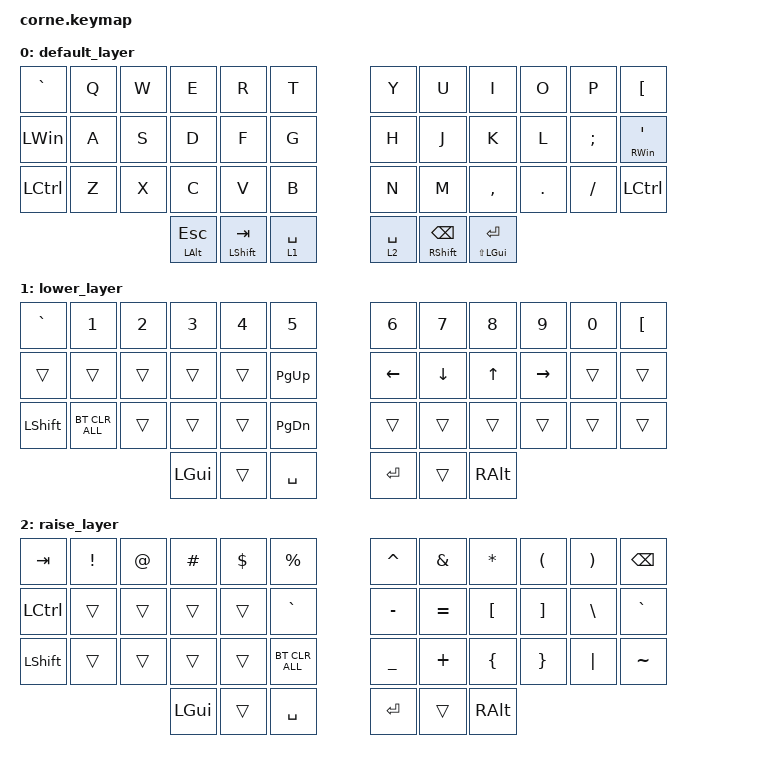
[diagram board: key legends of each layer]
/*
 * Copyright (c) 2020 The ZMK Contributors
 *
 * SPDX-License-Identifier: MIT
 */

#include <behaviors.dtsi>
#include <dt-bindings/zmk/bt.h>
#include <dt-bindings/zmk/keys.h>

/ {
    combos {
        compatible = "zmk,combos";

        combo_esc {
            timeout-ms = <50>;
            key-positions = <0 1>;
            bindings = <&kp ESC>;
        };
    };

    behaviors {
        ss_hs_modmorph: ss_hs_modmorph {
            compatible = "zmk,behavior-mod-morph";
            label = "SS_HS_MODMORPH";
            bindings = <&kp M>, <&kp RIGHT_BRACKET>;

            #binding-cells = <0>;
            mods = <(MOD_LSFT|MOD_RSFT)>;
        };

        kh_hs_tapdance: kh_hs_tapdance {
            compatible = "zmk,behavior-tap-dance";
            label = "KH_HS_TAPDANCE";
            #binding-cells = <0>;
            tapping-term-ms = <200>;
            bindings = <&kp LEFT_BRACKET>, <&kp RIGHT_BRACKET>;
        };

        hrm: hrm {
            compatible = "zmk,behavior-hold-tap";
            #binding-cells = <2>;
            flavor = "tap-preferred";
            tapping-term-ms = <800>;
            quick-tap-ms = <200>;
            require-prior-idle-ms = <125>;
            bindings = <&kp>, <&kp>;
        };
    };

    keymap {
        compatible = "zmk,keymap";

        default_layer {
            // -----------------------------------------------------------------------------------------
            // |  TAB |  Q  |  W  |  E  |  R  |  T  |   |  Y  |  U   |  I  |  O  |  P  | BKSP |
            // | CTRL |  A  |  S  |  D  |  F  |  G  |   |  H  |  J   |  K  |  L  |  ;  |  '   |
            // | SHFT |  Z  |  X  |  C  |  V  |  B  |   |  N  |  M   |  ,  |  .  |  /  | ESC  |
            //                    | GUI | LWR | SPC |   | ENT | RSE  | ALT |

            bindings = <
&kp GRAVE     &kp Q  &kp W  &kp E                &kp R               &kp T          &kp Y        &kp U                      &kp I                   &kp O    &kp P          &kp LEFT_BRACKET
&kp LEFT_WIN  &kp A  &kp S  &kp D                &kp F               &kp G          &kp H        &kp J                      &kp K                   &kp L    &kp SEMICOLON  &mt RIGHT_WIN SQT
&kp LCTRL     &kp Z  &kp X  &kp C                &kp V               &kp B          &kp N        &kp M                      &kp COMMA               &kp DOT  &kp FSLH       &kp LCTRL
                            &mt LEFT_ALT ESCAPE  &mt LEFT_SHIFT TAB  &lt 1 SPACE    &lt 2 SPACE  &mt RIGHT_SHIFT BACKSPACE  &mt LS(LEFT_GUI) ENTER
            >;
        };

        lower_layer {
            // -----------------------------------------------------------------------------------------
            // |  TAB |  1  |  2  |  3  |  4  |  5  |   |  6  |  7  |  8  |  9  |  0  | BKSP |
            // | BTCLR| BT1 | BT2 | BT3 | BT4 | BT5 |   | LFT | DWN |  UP | RGT |     |      |
            // | SHFT |     |     |     |     |     |   |     |     |     |     |     |      |
            //                    | GUI |     | SPC |   | ENT |     | ALT |

            bindings = <
&kp GRAVE  &kp N1          &kp N2  &kp N3    &kp N4  &kp N5       &kp N6    &kp N7    &kp N8    &kp N9     &kp N0  &kp LEFT_BRACKET
&trans     &trans          &trans  &trans    &trans  &kp PG_UP    &kp LEFT  &kp DOWN  &kp UP    &kp RIGHT  &trans  &trans
&kp LSHFT  &bt BT_CLR_ALL  &trans  &trans    &trans  &kp PG_DN    &trans    &trans    &trans    &trans     &trans  &trans
                                   &kp LGUI  &trans  &kp SPACE    &kp RET   &trans    &kp RALT
            >;
        };

        raise_layer {
            // -----------------------------------------------------------------------------------------
            // |  TAB |  !  |  @  |  #  |  $  |  %  |   |  ^  |  &  |  *  |  (  |  )  | BKSP |
            // | CTRL |     |     |     |     |     |   |  -  |  =  |  [  |  ]  |  \  |  `   |
            // | SHFT |     |     |     |     |     |   |  _  |  +  |  {  |  }  | "|" |  ~   |
            //                    | GUI |     | SPC |   | ENT |     | ALT |

            bindings = <
&kp TAB    &kp EXCL  &kp AT  &kp HASH  &kp DLLR  &kp PRCNT         &kp CARET  &kp AMPS   &kp ASTRK  &kp LPAR  &kp RPAR  &kp BSPC
&kp LCTRL  &trans    &trans  &trans    &trans    &kp GRAVE         &kp MINUS  &kp EQUAL  &kp LBKT   &kp RBKT  &kp BSLH  &kp GRAVE
&kp LSHFT  &trans    &trans  &trans    &trans    &bt BT_CLR_ALL    &kp UNDER  &kp PLUS   &kp LBRC   &kp RBRC  &kp PIPE  &kp TILDE
                             &kp LGUI  &trans    &kp SPACE         &kp RET    &trans     &kp RALT
            >;
        };
    };
};
